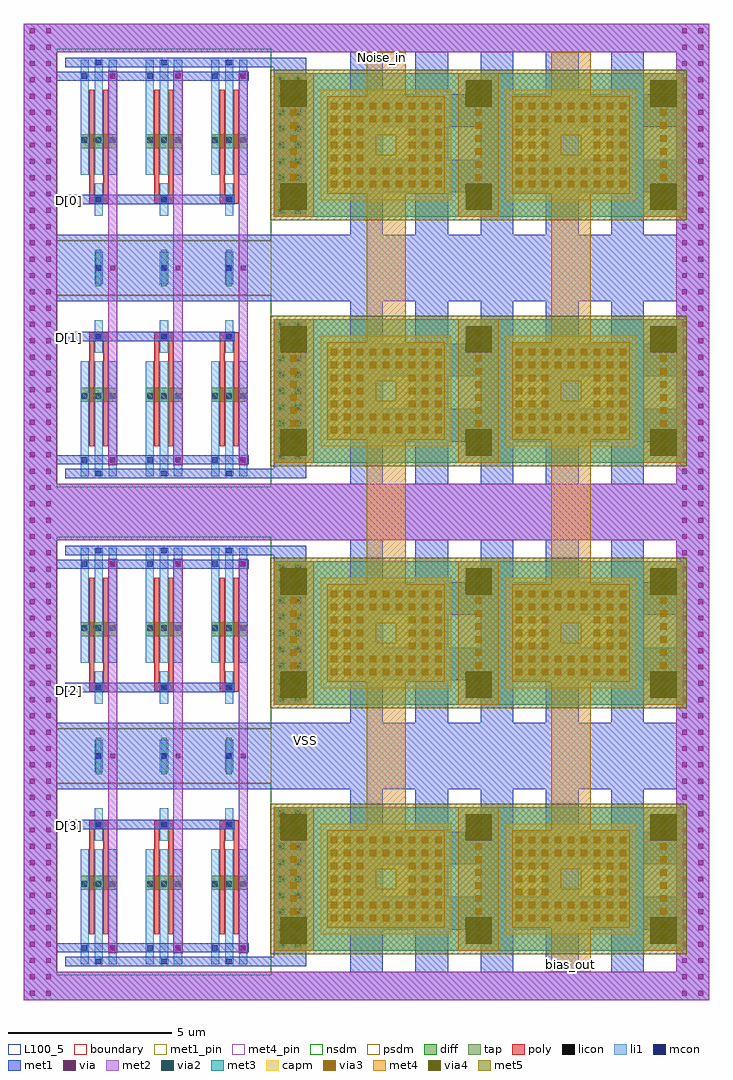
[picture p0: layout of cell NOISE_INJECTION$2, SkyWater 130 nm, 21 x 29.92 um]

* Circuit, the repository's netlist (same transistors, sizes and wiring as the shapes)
.subckt NOISE_INJECTION D[3] D[2] D[1] D[0] Noise_in bias_out VSS
X0  Noise_in GND_virtual0 sky130_fd_pr__cap_mim_m3_1 l=3.4e+06u w=4e+06u
X1  bias_out GND_virtual0 sky130_fd_pr__cap_mim_m3_1 l=3.4e+06u w=4e+06u
X2  Noise_in GND_virtual1 sky130_fd_pr__cap_mim_m3_1 l=3.4e+06u w=4e+06u
X3  bias_out GND_virtual1 sky130_fd_pr__cap_mim_m3_1 l=3.4e+06u w=4e+06u
X4  Noise_in GND_virtual2 sky130_fd_pr__cap_mim_m3_1 l=3.4e+06u w=4e+06u
X5  bias_out GND_virtual2 sky130_fd_pr__cap_mim_m3_1 l=3.4e+06u w=4e+06u
X6  Noise_in GND_virtual3 sky130_fd_pr__cap_mim_m3_1 l=3.4e+06u w=4e+06u
X7  bias_out GND_virtual3 sky130_fd_pr__cap_mim_m3_1 l=3.4e+06u w=4e+06u
X8  GND_virtual0 D[0] VSS VSS sky130_fd_pr__nfet_01v8 w=420000u l=150000u m=6
X9  GND_virtual1 D[1] VSS VSS sky130_fd_pr__nfet_01v8 w=420000u l=150000u m=6
X10 GND_virtual2 D[2] VSS VSS sky130_fd_pr__nfet_01v8 w=420000u l=150000u m=6
X11 GND_virtual3 D[3] VSS VSS sky130_fd_pr__nfet_01v8 w=420000u l=150000u m=6
.ends NOISE_INJECTION

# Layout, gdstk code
import gdstk
lib = gdstk.Library(unit=1e-6, precision=1e-09)
def R(c, l, rs):  # rectangles x0, y0, x1, y1
    for r in rs: c.add(gdstk.rectangle(r[:2], r[2:], *l))
def A(c, l, x, y, w, h, nx, ny, dx, dy):  # array of equal rectangles
    R(c, l, [(x+i*dx, y+j*dy, x+i*dx+w, y+j*dy+h) for i in range(nx) for j in range(ny)])
def P(c, l, *ps):  # polygons
    for p in ps: c.add(gdstk.Polygon(p, *l))
diff = (65, 20)
tap = (65, 44)
poly = (66, 20)
licon = (66, 44)
li1 = (67, 20)
mcon = (67, 44)
met1_pin = (68, 16)
met1 = (68, 20)
via = (68, 44)
met2 = (69, 20)
via2 = (69, 44)
met3 = (70, 20)
via3 = (70, 44)
met4_pin = (71, 16)
met4 = (71, 20)
via4 = (71, 44)
met5 = (72, 20)
capm = (89, 44)
nsdm = (93, 44)
psdm = (94, 20)
L100_5 = (100, 5)
boundary = (235, 4)

noise_injection_2 = lib.new_cell('NOISE_INJECTION$2')
A(noise_injection_2, diff, 1.735, 3.385, 1.11, 0.42, 3, 2, 2, 7.77)
A(noise_injection_2, diff, 1.735, 18.345, 1.11, 0.42, 3, 2, 2, 7.77)
R(noise_injection_2, tap, [(2.205,6.92,2.375,8.04), (2.205,6.92,2.375,8.04), (4.205,6.92,4.375,8.04), (4.205,6.92,4.375,8.04), (6.205,6.92,6.375,8.04), (6.205,6.92,6.375,8.04), (2.205,21.88,2.375,23), (2.205,21.88,2.375,23), (4.205,21.88,4.375,23), (4.205,21.88,4.375,23), (6.205,21.88,6.375,23), (6.205,21.88,6.375,23)])
A(noise_injection_2, poly, 2, 5.245, 0.58, 0.27, 3, 2, 2, 4.2)
A(noise_injection_2, poly, 2, 20.205, 0.58, 0.27, 3, 2, 2, 4.2)
R(noise_injection_2, poly, [(2,2.02,2.15,5.38), (2.43,2.02,2.58,5.38), (4,2.02,4.15,5.38), (4.43,2.02,4.58,5.38), (6,2.02,6.15,5.38), (6.43,2.02,6.58,5.38), (2,9.58,2.15,12.94), (2.43,9.58,2.58,12.94), (4,9.58,4.15,12.94), (4.43,9.58,4.58,12.94), (6,9.58,6.15,12.94), (6.43,9.58,6.58,12.94), (2,16.98,2.15,20.34), (2.43,16.98,2.58,20.34), (4,16.98,4.15,20.34), (4.43,16.98,4.58,20.34), (6,16.98,6.15,20.34), (6.43,16.98,6.58,20.34), (2,24.54,2.15,27.9), (2.43,24.54,2.58,27.9), (4,24.54,4.15,27.9), (4.43,24.54,4.58,27.9), (6,24.54,6.15,27.9), (6.43,24.54,6.58,27.9)])
A(noise_injection_2, licon, 1.775, 3.465, 0.17, 0.17, 3, 2, 0.43, 7.86)
A(noise_injection_2, licon, 3.775, 3.465, 0.17, 0.17, 3, 2, 0.43, 7.86)
A(noise_injection_2, licon, 5.775, 3.465, 0.17, 0.17, 3, 2, 0.43, 7.86)
A(noise_injection_2, licon, 2.205, 5.295, 0.17, 0.17, 3, 2, 2, 4.2)
A(noise_injection_2, licon, 1.775, 18.425, 0.17, 0.17, 3, 2, 0.43, 7.86)
A(noise_injection_2, licon, 3.775, 18.425, 0.17, 0.17, 3, 2, 0.43, 7.86)
A(noise_injection_2, licon, 5.775, 18.425, 0.17, 0.17, 3, 2, 0.43, 7.86)
A(noise_injection_2, licon, 2.205, 20.255, 0.17, 0.17, 3, 2, 2, 4.2)
R(noise_injection_2, licon, [(2.205,7.395,2.375,7.565), (2.205,7.395,2.375,7.565), (4.205,7.395,4.375,7.565), (4.205,7.395,4.375,7.565), (6.205,7.395,6.375,7.565), (6.205,7.395,6.375,7.565), (2.205,22.355,2.375,22.525), (2.205,22.355,2.375,22.525), (4.205,22.355,4.375,22.525), (4.205,22.355,4.375,22.525), (6.205,22.355,6.375,22.525), (6.205,22.355,6.375,22.525)])
A(noise_injection_2, li1, 1.735, 1.095, 0.25, 3.53, 3, 2, 0.43, 9.24)
A(noise_injection_2, li1, 3.735, 1.095, 0.25, 3.53, 3, 2, 0.43, 9.24)
A(noise_injection_2, li1, 5.735, 1.095, 0.25, 3.53, 3, 2, 0.43, 9.24)
A(noise_injection_2, li1, 2.165, 4.875, 0.25, 1.01, 3, 2, 2, 4.2)
A(noise_injection_2, li1, 1.735, 16.055, 0.25, 3.53, 3, 2, 0.43, 9.24)
A(noise_injection_2, li1, 3.735, 16.055, 0.25, 3.53, 3, 2, 0.43, 9.24)
A(noise_injection_2, li1, 5.735, 16.055, 0.25, 3.53, 3, 2, 0.43, 9.24)
A(noise_injection_2, li1, 2.165, 19.835, 0.25, 1.01, 3, 2, 2, 4.2)
R(noise_injection_2, li1, [(2.165,6.975,2.415,7.985), (2.165,6.975,2.415,7.985), (4.165,6.975,4.415,7.985), (4.165,6.975,4.415,7.985), (6.165,6.975,6.415,7.985), (6.165,6.975,6.415,7.985), (2.165,21.935,2.415,22.945), (2.165,21.935,2.415,22.945), (4.165,21.935,4.415,22.945), (4.165,21.935,4.415,22.945), (6.165,21.935,6.415,22.945), (6.165,21.935,6.415,22.945)])
A(noise_injection_2, mcon, 2.205, 1.095, 0.17, 0.17, 3, 4, 2, 4.2)
A(noise_injection_2, mcon, 2.205, 16.055, 0.17, 0.17, 3, 4, 2, 4.2)
R(noise_injection_2, mcon, [(1.775,1.515,1.945,1.685), (2.635,1.515,2.805,1.685), (3.775,1.515,3.945,1.685), (4.635,1.515,4.805,1.685), (5.775,1.515,5.945,1.685), (6.635,1.515,6.805,1.685), (2.205,7.395,2.375,7.565), (2.205,7.395,2.375,7.565), (4.205,7.395,4.375,7.565), (4.205,7.395,4.375,7.565), (6.205,7.395,6.375,7.565), (6.205,7.395,6.375,7.565), (1.775,13.275,1.945,13.445), (2.635,13.275,2.805,13.445), (3.775,13.275,3.945,13.445), (4.635,13.275,4.805,13.445), (5.775,13.275,5.945,13.445), (6.635,13.275,6.805,13.445), (1.775,16.475,1.945,16.645), (2.635,16.475,2.805,16.645), (3.775,16.475,3.945,16.645), (4.635,16.475,4.805,16.645), (5.775,16.475,5.945,16.645), (6.635,16.475,6.805,16.645), (2.205,22.355,2.375,22.525), (2.205,22.355,2.375,22.525), (4.205,22.355,4.375,22.525), (4.205,22.355,4.375,22.525), (6.205,22.355,6.375,22.525), (6.205,22.355,6.375,22.525), (1.775,28.235,1.945,28.405), (2.635,28.235,2.805,28.405), (3.775,28.235,3.945,28.405), (4.635,28.235,4.805,28.405), (5.775,28.235,5.945,28.405), (6.635,28.235,6.805,28.405)])
R(noise_injection_2, met1_pin, [(1.39,5.353,1.41,5.373), (8.63,7.945,8.65,7.965), (8.63,7.945,8.65,7.965), (1.39,9.495,1.41,9.515), (1.39,20.295,1.41,20.315), (1.39,24.495,1.41,24.515)])
A(noise_injection_2, met1, 1.26, 1.04, 1.2, 0.28, 3, 4, 2, 4.2)
A(noise_injection_2, met1, 1.69, 1.46, 1.2, 0.28, 3, 2, 2, 11.76)
A(noise_injection_2, met1, 1.26, 16, 1.2, 0.28, 3, 4, 2, 4.2)
A(noise_injection_2, met1, 1.69, 16.42, 1.2, 0.28, 3, 2, 2, 11.76)
R(noise_injection_2, met1, [(1.26,1.04,7.65,1.32), (7.65,1.04,8.65,5.91), (1,1.46,6.89,1.74), (1.26,5.24,6.46,5.52), (7.65,9.05,8.65,13.92), (1.26,9.44,6.46,9.72), (1,13.22,6.89,13.5), (1.26,13.64,7.65,13.92), (1.26,16,7.65,16.28), (7.65,16,8.65,20.87), (1,16.42,6.89,16.7), (1.26,20.2,6.46,20.48), (7.65,24.01,8.65,28.88), (1.26,24.4,6.46,24.68), (1,28.18,6.89,28.46), (1.26,28.6,7.65,28.88)])
P(noise_injection_2, met1, [(0,14.96),(0,21.42),(1,21.42),(1,15.82),(10,15.82),(10,17.12),(11,17.12),(11,15.82),(12,15.82),(12,17.12),(13,17.12),(13,15.82),(14,15.82),(14,17.12),(15,17.12),(15,15.82),(16,15.82),(16,17.12),(17,17.12),(17,15.82),(18,15.82),(18,17.12),(19,17.12),(19,15.82),(20,15.82),(20,17.12),(10,17.12),(10,19.12),(11,19.12),(11,18.12),(12,18.12),(12,19.12),(13,19.12),(13,18.12),(14,18.12),(14,19.12),(15,19.12),(15,18.12),(16,18.12),(16,19.12),(17,19.12),(17,18.12),(18,18.12),(18,19.12),(19,19.12),(19,18.12),(20,18.12),(20,19.12),(10,19.12),(10,21.42),(11,21.42),(11,20.12),(12,20.12),(12,21.42),(13,21.42),(13,20.12),(14,20.12),(14,21.42),(15,21.42),(15,20.12),(16,20.12),(16,21.42),(17,21.42),(17,20.12),(18,20.12),(18,21.42),(19,21.42),(19,20.12),(20,20.12),(20,21.42),(0,21.42),(0,29.06),(1,29.06),(1,23.46),(10,23.46),(10,24.76),(11,24.76),(11,23.46),(12,23.46),(12,24.76),(13,24.76),(13,23.46),(14,23.46),(14,24.76),(15,24.76),(15,23.46),(16,23.46),(16,24.76),(17,24.76),(17,23.46),(18,23.46),(18,24.76),(19,24.76),(19,23.46),(20,23.46),(20,24.76),(10,24.76),(10,26.77),(11,26.77),(11,25.76),(12,25.76),(12,26.77),(13,26.77),(13,25.76),(14,25.76),(14,26.77),(15,26.77),(15,25.76),(16,25.76),(16,26.77),(17,26.77),(17,25.76),(18,25.76),(18,26.77),(19,26.77),(19,25.76),(20,25.76),(20,26.77),(10,26.77),(10,29.06),(11,29.06),(11,27.77),(12,27.77),(12,29.06),(13,29.06),(13,27.77),(14,27.77),(14,29.06),(15,29.06),(15,27.77),(16,27.77),(16,29.06),(17,29.06),(17,27.77),(18,27.77),(18,29.06),(19,29.06),(19,27.77),(20,27.77),(20,29.06),(0,29.06),(0,29.92),(21,29.92),(21,14.96)],
  [(0,0),(0,6.46),(1,6.46),(1,0.86),(10,0.86),(10,2.16),(11,2.16),(11,0.86),(12,0.86),(12,2.16),(13,2.16),(13,0.86),(14,0.86),(14,2.16),(15,2.16),(15,0.86),(16,0.86),(16,2.16),(17,2.16),(17,0.86),(18,0.86),(18,2.16),(19,2.16),(19,0.86),(20,0.86),(20,2.16),(10,2.16),(10,4.16),(11,4.16),(11,3.16),(12,3.16),(12,4.16),(13,4.16),(13,3.16),(14,3.16),(14,4.16),(15,4.16),(15,3.16),(16,3.16),(16,4.16),(17,4.16),(17,3.16),(18,3.16),(18,4.16),(19,4.16),(19,3.16),(20,3.16),(20,4.16),(10,4.16),(10,6.46),(11,6.46),(11,5.16),(12,5.16),(12,6.46),(13,6.46),(13,5.16),(14,5.16),(14,6.46),(15,6.46),(15,5.16),(16,5.16),(16,6.46),(17,6.46),(17,5.16),(18,5.16),(18,6.46),(19,6.46),(19,5.16),(20,5.16),(20,6.46),(0,6.46),(0,14.1),(1,14.1),(1,8.5),(10,8.5),(10,9.8),(11,9.8),(11,8.5),(12,8.5),(12,9.8),(13,9.8),(13,8.5),(14,8.5),(14,9.8),(15,9.8),(15,8.5),(16,8.5),(16,9.8),(17,9.8),(17,8.5),(18,8.5),(18,9.8),(19,9.8),(19,8.5),(20,8.5),(20,9.8),(10,9.8),(10,11.81),(11,11.81),(11,10.8),(12,10.8),(12,11.81),(13,11.81),(13,10.8),(14,10.8),(14,11.81),(15,11.81),(15,10.8),(16,10.8),(16,11.81),(17,11.81),(17,10.8),(18,10.8),(18,11.81),(19,11.81),(19,10.8),(20,10.8),(20,11.81),(10,11.81),(10,14.1),(11,14.1),(11,12.81),(12,12.81),(12,14.1),(13,14.1),(13,12.81),(14,12.81),(14,14.1),(15,14.1),(15,12.81),(16,12.81),(16,14.1),(17,14.1),(17,12.81),(18,12.81),(18,14.1),(19,14.1),(19,12.81),(20,12.81),(20,14.1),(0,14.1),(0,14.96),(21,14.96),(21,0)])
A(noise_injection_2, via, 0.175, 0.135, 0.15, 0.15, 1, 60, 0, 0.5)
A(noise_injection_2, via, 0.675, 0.135, 0.15, 0.15, 1, 60, 0, 0.5)
A(noise_injection_2, via, 20.175, 0.135, 0.15, 0.15, 1, 60, 0, 0.5)
A(noise_injection_2, via, 20.675, 0.135, 0.15, 0.15, 1, 60, 0, 0.5)
A(noise_injection_2, via, 2.645, 1.525, 0.15, 0.15, 3, 2, 2, 11.76)
A(noise_injection_2, via, 7.825, 1.635, 0.15, 0.15, 1, 9, 0, 0.5)
A(noise_injection_2, via, 8.325, 1.635, 0.15, 0.15, 1, 9, 0, 0.5)
A(noise_injection_2, via, 7.825, 9.175, 0.15, 0.15, 1, 9, 0, 0.5)
A(noise_injection_2, via, 8.325, 9.175, 0.15, 0.15, 1, 9, 0, 0.5)
A(noise_injection_2, via, 2.645, 16.485, 0.15, 0.15, 3, 2, 2, 11.76)
A(noise_injection_2, via, 7.825, 16.595, 0.15, 0.15, 1, 9, 0, 0.5)
A(noise_injection_2, via, 8.325, 16.595, 0.15, 0.15, 1, 9, 0, 0.5)
A(noise_injection_2, via, 7.825, 24.135, 0.15, 0.15, 1, 9, 0, 0.5)
A(noise_injection_2, via, 8.325, 24.135, 0.15, 0.15, 1, 9, 0, 0.5)
R(noise_injection_2, via, [(2.645,7.405,2.795,7.555), (2.645,7.405,2.795,7.555), (4.645,7.405,4.795,7.555), (4.645,7.405,4.795,7.555), (6.645,7.405,6.795,7.555), (6.645,7.405,6.795,7.555), (2.645,22.365,2.795,22.515), (2.645,22.365,2.795,22.515), (4.645,22.365,4.795,22.515), (4.645,22.365,4.795,22.515), (6.645,22.365,6.795,22.515), (6.645,22.365,6.795,22.515)])
A(noise_injection_2, met2, 2.58, 1.44, 0.28, 6.04, 3, 2, 2, 6.04)
A(noise_injection_2, met2, 2.58, 16.4, 0.28, 6.04, 3, 2, 2, 6.04)
R(noise_injection_2, met2, [(7.65,1.51,8.65,5.91), (7.65,9.05,8.65,13.45), (7.65,16.47,8.65,20.87), (7.65,24.01,8.65,28.41)])
P(noise_injection_2, met2, [(0,14.96),(0,29.06),(1,29.06),(1,15.82),(20,15.82),(20,29.06),(0,29.06),(0,29.92),(21,29.92),(21,14.96)],
  [(0,0),(0,14.1),(1,14.1),(1,0.86),(20,0.86),(20,14.1),(0,14.1),(0,14.96),(21,14.96),(21,0)])
A(noise_injection_2, via2, 7.8, 1.61, 0.2, 0.2, 1, 9, 0, 0.5)
A(noise_injection_2, via2, 8.3, 1.61, 0.2, 0.2, 1, 9, 0, 0.5)
A(noise_injection_2, via2, 7.8, 9.15, 0.2, 0.2, 1, 9, 0, 0.5)
A(noise_injection_2, via2, 8.3, 9.15, 0.2, 0.2, 1, 9, 0, 0.5)
A(noise_injection_2, via2, 7.8, 16.57, 0.2, 0.2, 1, 9, 0, 0.5)
A(noise_injection_2, via2, 8.3, 16.57, 0.2, 0.2, 1, 9, 0, 0.5)
A(noise_injection_2, via2, 7.8, 24.11, 0.2, 0.2, 1, 9, 0, 0.5)
A(noise_injection_2, via2, 8.3, 24.11, 0.2, 0.2, 1, 9, 0, 0.5)
R(noise_injection_2, met3, [(7.65,1.51,14.55,5.91), (13.32,1.51,20.22,5.91), (7.65,9.05,14.55,13.45), (13.32,9.05,20.22,13.45), (7.65,16.47,14.55,20.87), (13.32,16.47,20.22,20.87), (7.65,24.01,14.55,28.41), (13.32,24.01,20.22,28.41)])
A(noise_injection_2, via3, 9.4, 2.41, 0.2, 0.2, 9, 2, 0.4, 0.4)
A(noise_injection_2, via3, 15.07, 2.41, 0.2, 0.2, 9, 2, 0.4, 0.4)
A(noise_injection_2, via3, 9.4, 3.21, 0.2, 0.2, 3, 3, 0.4, 0.4)
A(noise_injection_2, via3, 11.8, 3.21, 0.2, 0.2, 3, 3, 0.4, 0.4)
A(noise_injection_2, via3, 15.07, 3.21, 0.2, 0.2, 3, 3, 0.4, 0.4)
A(noise_injection_2, via3, 17.47, 3.21, 0.2, 0.2, 3, 3, 0.4, 0.4)
A(noise_injection_2, via3, 9.4, 4.41, 0.2, 0.2, 9, 2, 0.4, 0.4)
A(noise_injection_2, via3, 15.07, 4.41, 0.2, 0.2, 9, 2, 0.4, 0.4)
A(noise_injection_2, via3, 9.4, 9.95, 0.2, 0.2, 9, 2, 0.4, 0.4)
A(noise_injection_2, via3, 15.07, 9.95, 0.2, 0.2, 9, 2, 0.4, 0.4)
A(noise_injection_2, via3, 9.4, 10.75, 0.2, 0.2, 3, 3, 0.4, 0.4)
A(noise_injection_2, via3, 11.8, 10.75, 0.2, 0.2, 3, 3, 0.4, 0.4)
A(noise_injection_2, via3, 15.07, 10.75, 0.2, 0.2, 3, 3, 0.4, 0.4)
A(noise_injection_2, via3, 17.47, 10.75, 0.2, 0.2, 3, 3, 0.4, 0.4)
A(noise_injection_2, via3, 9.4, 11.95, 0.2, 0.2, 9, 2, 0.4, 0.4)
A(noise_injection_2, via3, 15.07, 11.95, 0.2, 0.2, 9, 2, 0.4, 0.4)
A(noise_injection_2, via3, 9.4, 17.37, 0.2, 0.2, 9, 2, 0.4, 0.4)
A(noise_injection_2, via3, 15.07, 17.37, 0.2, 0.2, 9, 2, 0.4, 0.4)
A(noise_injection_2, via3, 9.4, 18.17, 0.2, 0.2, 3, 3, 0.4, 0.4)
A(noise_injection_2, via3, 11.8, 18.17, 0.2, 0.2, 3, 3, 0.4, 0.4)
A(noise_injection_2, via3, 15.07, 18.17, 0.2, 0.2, 3, 3, 0.4, 0.4)
A(noise_injection_2, via3, 17.47, 18.17, 0.2, 0.2, 3, 3, 0.4, 0.4)
A(noise_injection_2, via3, 9.4, 19.37, 0.2, 0.2, 9, 2, 0.4, 0.4)
A(noise_injection_2, via3, 15.07, 19.37, 0.2, 0.2, 9, 2, 0.4, 0.4)
A(noise_injection_2, via3, 9.4, 24.91, 0.2, 0.2, 9, 2, 0.4, 0.4)
A(noise_injection_2, via3, 15.07, 24.91, 0.2, 0.2, 9, 2, 0.4, 0.4)
A(noise_injection_2, via3, 9.4, 25.71, 0.2, 0.2, 3, 3, 0.4, 0.4)
A(noise_injection_2, via3, 11.8, 25.71, 0.2, 0.2, 3, 3, 0.4, 0.4)
A(noise_injection_2, via3, 15.07, 25.71, 0.2, 0.2, 3, 3, 0.4, 0.4)
A(noise_injection_2, via3, 17.47, 25.71, 0.2, 0.2, 3, 3, 0.4, 0.4)
A(noise_injection_2, via3, 9.4, 26.91, 0.2, 0.2, 9, 2, 0.4, 0.4)
A(noise_injection_2, via3, 15.07, 26.91, 0.2, 0.2, 9, 2, 0.4, 0.4)
R(noise_injection_2, via3, [(8.165,1.81,8.365,2.01), (8.165,1.81,8.365,2.01), (13.835,1.81,14.035,2.01), (13.835,1.81,14.035,2.01), (13.835,1.81,14.035,2.01), (13.835,1.81,14.035,2.01), (19.505,1.81,19.705,2.01), (19.505,1.81,19.705,2.01), (8.165,2.21,8.365,2.41), (8.165,2.21,8.365,2.41), (13.835,2.21,14.035,2.41), (13.835,2.21,14.035,2.41), (13.835,2.21,14.035,2.41), (13.835,2.21,14.035,2.41), (19.505,2.21,19.705,2.41), (19.505,2.21,19.705,2.41), (8.165,2.61,8.365,2.81), (8.165,2.61,8.365,2.81), (13.835,2.61,14.035,2.81), (13.835,2.61,14.035,2.81), (13.835,2.61,14.035,2.81), (13.835,2.61,14.035,2.81), (19.505,2.61,19.705,2.81), (19.505,2.61,19.705,2.81), (8.165,3.01,8.365,3.21), (8.165,3.01,8.365,3.21), (13.835,3.01,14.035,3.21), (13.835,3.01,14.035,3.21), (13.835,3.01,14.035,3.21), (13.835,3.01,14.035,3.21), (19.505,3.01,19.705,3.21), (19.505,3.01,19.705,3.21), (8.165,3.41,8.365,3.61), (8.165,3.41,8.365,3.61), (13.835,3.41,14.035,3.61), (13.835,3.41,14.035,3.61), (13.835,3.41,14.035,3.61), (13.835,3.41,14.035,3.61), (19.505,3.41,19.705,3.61), (19.505,3.41,19.705,3.61), (8.165,3.81,8.365,4.01), (8.165,3.81,8.365,4.01), (13.835,3.81,14.035,4.01), (13.835,3.81,14.035,4.01), (13.835,3.81,14.035,4.01), (13.835,3.81,14.035,4.01), (19.505,3.81,19.705,4.01), (19.505,3.81,19.705,4.01), (8.165,4.21,8.365,4.41), (8.165,4.21,8.365,4.41), (13.835,4.21,14.035,4.41), (13.835,4.21,14.035,4.41), (13.835,4.21,14.035,4.41), (13.835,4.21,14.035,4.41), (19.505,4.21,19.705,4.41), (19.505,4.21,19.705,4.41), (8.165,4.61,8.365,4.81), (8.165,4.61,8.365,4.81), (13.835,4.61,14.035,4.81), (13.835,4.61,14.035,4.81), (13.835,4.61,14.035,4.81), (13.835,4.61,14.035,4.81), (19.505,4.61,19.705,4.81), (19.505,4.61,19.705,4.81), (8.165,5.01,8.365,5.21), (8.165,5.01,8.365,5.21), (13.835,5.01,14.035,5.21), (13.835,5.01,14.035,5.21), (13.835,5.01,14.035,5.21), (13.835,5.01,14.035,5.21), (19.505,5.01,19.705,5.21), (19.505,5.01,19.705,5.21), (8.165,5.41,8.365,5.61), (13.835,5.41,14.035,5.61), (13.835,5.41,14.035,5.61), (19.505,5.41,19.705,5.61), (8.165,9.35,8.365,9.55), (8.165,9.35,8.365,9.55), (13.835,9.35,14.035,9.55), (13.835,9.35,14.035,9.55), (13.835,9.35,14.035,9.55), (13.835,9.35,14.035,9.55), (19.505,9.35,19.705,9.55), (19.505,9.35,19.705,9.55), (8.165,9.75,8.365,9.95), (8.165,9.75,8.365,9.95), (13.835,9.75,14.035,9.95), (13.835,9.75,14.035,9.95), (13.835,9.75,14.035,9.95), (13.835,9.75,14.035,9.95), (19.505,9.75,19.705,9.95), (19.505,9.75,19.705,9.95), (8.165,10.15,8.365,10.35), (8.165,10.15,8.365,10.35), (13.835,10.15,14.035,10.35), (13.835,10.15,14.035,10.35), (13.835,10.15,14.035,10.35), (13.835,10.15,14.035,10.35), (19.505,10.15,19.705,10.35), (19.505,10.15,19.705,10.35), (8.165,10.55,8.365,10.75), (8.165,10.55,8.365,10.75), (13.835,10.55,14.035,10.75), (13.835,10.55,14.035,10.75), (13.835,10.55,14.035,10.75), (13.835,10.55,14.035,10.75), (19.505,10.55,19.705,10.75), (19.505,10.55,19.705,10.75), (8.165,10.95,8.365,11.15), (8.165,10.95,8.365,11.15), (13.835,10.95,14.035,11.15), (13.835,10.95,14.035,11.15), (13.835,10.95,14.035,11.15), (13.835,10.95,14.035,11.15), (19.505,10.95,19.705,11.15), (19.505,10.95,19.705,11.15), (8.165,11.35,8.365,11.55), (8.165,11.35,8.365,11.55), (13.835,11.35,14.035,11.55), (13.835,11.35,14.035,11.55), (13.835,11.35,14.035,11.55), (13.835,11.35,14.035,11.55), (19.505,11.35,19.705,11.55), (19.505,11.35,19.705,11.55), (8.165,11.75,8.365,11.95), (8.165,11.75,8.365,11.95), (13.835,11.75,14.035,11.95), (13.835,11.75,14.035,11.95), (13.835,11.75,14.035,11.95), (13.835,11.75,14.035,11.95), (19.505,11.75,19.705,11.95), (19.505,11.75,19.705,11.95), (8.165,12.15,8.365,12.35), (8.165,12.15,8.365,12.35), (13.835,12.15,14.035,12.35), (13.835,12.15,14.035,12.35), (13.835,12.15,14.035,12.35), (13.835,12.15,14.035,12.35), (19.505,12.15,19.705,12.35), (19.505,12.15,19.705,12.35), (8.165,12.55,8.365,12.75), (8.165,12.55,8.365,12.75), (13.835,12.55,14.035,12.75), (13.835,12.55,14.035,12.75), (13.835,12.55,14.035,12.75), (13.835,12.55,14.035,12.75), (19.505,12.55,19.705,12.75), (19.505,12.55,19.705,12.75), (8.165,12.95,8.365,13.15), (13.835,12.95,14.035,13.15), (13.835,12.95,14.035,13.15), (19.505,12.95,19.705,13.15), (8.165,16.77,8.365,16.97), (8.165,16.77,8.365,16.97), (13.835,16.77,14.035,16.97), (13.835,16.77,14.035,16.97), (13.835,16.77,14.035,16.97), (13.835,16.77,14.035,16.97), (19.505,16.77,19.705,16.97), (19.505,16.77,19.705,16.97), (8.165,17.17,8.365,17.37), (8.165,17.17,8.365,17.37), (13.835,17.17,14.035,17.37), (13.835,17.17,14.035,17.37), (13.835,17.17,14.035,17.37), (13.835,17.17,14.035,17.37), (19.505,17.17,19.705,17.37), (19.505,17.17,19.705,17.37), (8.165,17.57,8.365,17.77), (8.165,17.57,8.365,17.77), (13.835,17.57,14.035,17.77), (13.835,17.57,14.035,17.77), (13.835,17.57,14.035,17.77), (13.835,17.57,14.035,17.77), (19.505,17.57,19.705,17.77), (19.505,17.57,19.705,17.77), (8.165,17.97,8.365,18.17), (8.165,17.97,8.365,18.17), (13.835,17.97,14.035,18.17), (13.835,17.97,14.035,18.17), (13.835,17.97,14.035,18.17), (13.835,17.97,14.035,18.17), (19.505,17.97,19.705,18.17), (19.505,17.97,19.705,18.17), (8.165,18.37,8.365,18.57), (8.165,18.37,8.365,18.57), (13.835,18.37,14.035,18.57), (13.835,18.37,14.035,18.57), (13.835,18.37,14.035,18.57), (13.835,18.37,14.035,18.57), (19.505,18.37,19.705,18.57), (19.505,18.37,19.705,18.57), (8.165,18.77,8.365,18.97), (8.165,18.77,8.365,18.97), (13.835,18.77,14.035,18.97), (13.835,18.77,14.035,18.97), (13.835,18.77,14.035,18.97), (13.835,18.77,14.035,18.97), (19.505,18.77,19.705,18.97), (19.505,18.77,19.705,18.97), (8.165,19.17,8.365,19.37), (8.165,19.17,8.365,19.37), (13.835,19.17,14.035,19.37), (13.835,19.17,14.035,19.37), (13.835,19.17,14.035,19.37), (13.835,19.17,14.035,19.37), (19.505,19.17,19.705,19.37), (19.505,19.17,19.705,19.37), (8.165,19.57,8.365,19.77), (8.165,19.57,8.365,19.77), (13.835,19.57,14.035,19.77), (13.835,19.57,14.035,19.77), (13.835,19.57,14.035,19.77), (13.835,19.57,14.035,19.77), (19.505,19.57,19.705,19.77), (19.505,19.57,19.705,19.77), (8.165,19.97,8.365,20.17), (8.165,19.97,8.365,20.17), (13.835,19.97,14.035,20.17), (13.835,19.97,14.035,20.17), (13.835,19.97,14.035,20.17), (13.835,19.97,14.035,20.17), (19.505,19.97,19.705,20.17), (19.505,19.97,19.705,20.17), (8.165,20.37,8.365,20.57), (13.835,20.37,14.035,20.57), (13.835,20.37,14.035,20.57), (19.505,20.37,19.705,20.57), (8.165,24.31,8.365,24.51), (8.165,24.31,8.365,24.51), (13.835,24.31,14.035,24.51), (13.835,24.31,14.035,24.51), (13.835,24.31,14.035,24.51), (13.835,24.31,14.035,24.51), (19.505,24.31,19.705,24.51), (19.505,24.31,19.705,24.51), (8.165,24.71,8.365,24.91), (8.165,24.71,8.365,24.91), (13.835,24.71,14.035,24.91), (13.835,24.71,14.035,24.91), (13.835,24.71,14.035,24.91), (13.835,24.71,14.035,24.91), (19.505,24.71,19.705,24.91), (19.505,24.71,19.705,24.91), (8.165,25.11,8.365,25.31), (8.165,25.11,8.365,25.31), (13.835,25.11,14.035,25.31), (13.835,25.11,14.035,25.31), (13.835,25.11,14.035,25.31), (13.835,25.11,14.035,25.31), (19.505,25.11,19.705,25.31), (19.505,25.11,19.705,25.31), (8.165,25.51,8.365,25.71), (8.165,25.51,8.365,25.71), (13.835,25.51,14.035,25.71), (13.835,25.51,14.035,25.71), (13.835,25.51,14.035,25.71), (13.835,25.51,14.035,25.71), (19.505,25.51,19.705,25.71), (19.505,25.51,19.705,25.71), (8.165,25.91,8.365,26.11), (8.165,25.91,8.365,26.11), (13.835,25.91,14.035,26.11), (13.835,25.91,14.035,26.11), (13.835,25.91,14.035,26.11), (13.835,25.91,14.035,26.11), (19.505,25.91,19.705,26.11), (19.505,25.91,19.705,26.11), (8.165,26.31,8.365,26.51), (8.165,26.31,8.365,26.51), (13.835,26.31,14.035,26.51), (13.835,26.31,14.035,26.51), (13.835,26.31,14.035,26.51), (13.835,26.31,14.035,26.51), (19.505,26.31,19.705,26.51), (19.505,26.31,19.705,26.51), (8.165,26.71,8.365,26.91), (8.165,26.71,8.365,26.91), (13.835,26.71,14.035,26.91), (13.835,26.71,14.035,26.91), (13.835,26.71,14.035,26.91), (13.835,26.71,14.035,26.91), (19.505,26.71,19.705,26.91), (19.505,26.71,19.705,26.91), (8.165,27.11,8.365,27.31), (8.165,27.11,8.365,27.31), (13.835,27.11,14.035,27.31), (13.835,27.11,14.035,27.31), (13.835,27.11,14.035,27.31), (13.835,27.11,14.035,27.31), (19.505,27.11,19.705,27.31), (19.505,27.11,19.705,27.31), (8.165,27.51,8.365,27.71), (8.165,27.51,8.365,27.71), (13.835,27.51,14.035,27.71), (13.835,27.51,14.035,27.71), (13.835,27.51,14.035,27.71), (13.835,27.51,14.035,27.71), (19.505,27.51,19.705,27.71), (19.505,27.51,19.705,27.71), (8.165,27.91,8.365,28.11), (13.835,27.91,14.035,28.11), (13.835,27.91,14.035,28.11), (19.505,27.91,19.705,28.11)])
R(noise_injection_2, met4_pin, [(16.755,1.095,16.775,1.115), (10.995,28.895,11.015,28.915)])
R(noise_injection_2, met4, [(16.17,0.86,17.37,2.21), (7.65,1.51,8.88,5.91), (13.32,1.51,14.55,5.91), (13.32,1.51,14.55,5.91), (18.99,1.51,20.22,5.91), (9.3,2.21,10.8,5.21), (10.8,2.21,11.4,3.41), (11.4,2.21,12.9,5.21), (14.97,2.21,16.47,5.21), (16.47,2.21,17.07,3.41), (17.07,2.21,18.57,5.21), (10.8,4.01,11.4,5.21), (16.47,4.01,17.07,5.21), (10.5,5.21,11.7,9.75), (16.17,5.21,17.37,9.75), (7.65,9.05,8.88,13.45), (13.32,9.05,14.55,13.45), (13.32,9.05,14.55,13.45), (18.99,9.05,20.22,13.45), (9.3,9.75,10.8,12.75), (10.8,9.75,11.4,10.95), (11.4,9.75,12.9,12.75), (14.97,9.75,16.47,12.75), (16.47,9.75,17.07,10.95), (17.07,9.75,18.57,12.75), (10.8,11.55,11.4,12.75), (16.47,11.55,17.07,12.75), (10.5,12.75,11.7,17.17), (16.17,12.75,17.37,17.17), (7.65,16.47,8.88,20.87), (13.32,16.47,14.55,20.87), (13.32,16.47,14.55,20.87), (18.99,16.47,20.22,20.87), (9.3,17.17,10.8,20.17), (10.8,17.17,11.4,18.37), (11.4,17.17,12.9,20.17), (14.97,17.17,16.47,20.17), (16.47,17.17,17.07,18.37), (17.07,17.17,18.57,20.17), (10.8,18.97,11.4,20.17), (16.47,18.97,17.07,20.17), (10.5,20.17,11.7,24.71), (16.17,20.17,17.37,24.71), (7.65,24.01,8.88,28.41), (13.32,24.01,14.55,28.41), (13.32,24.01,14.55,28.41), (18.99,24.01,20.22,28.41), (9.3,24.71,10.8,27.71), (10.8,24.71,11.4,25.91), (11.4,24.71,12.9,27.71), (14.97,24.71,16.47,27.71), (16.47,24.71,17.07,25.91), (17.07,24.71,18.57,27.71), (10.8,26.51,11.4,27.71), (16.47,26.51,17.07,27.71), (10.5,27.71,11.7,29.06), (16.17,27.71,17.37,29.06)])
R(noise_injection_2, via4, [(7.865,1.73,8.665,2.53), (13.535,1.73,14.335,2.53), (13.535,1.73,14.335,2.53), (19.205,1.73,20.005,2.53), (7.865,4.89,8.665,5.69), (13.535,4.89,14.335,5.69), (13.535,4.89,14.335,5.69), (19.205,4.89,20.005,5.69), (7.865,9.27,8.665,10.07), (13.535,9.27,14.335,10.07), (13.535,9.27,14.335,10.07), (19.205,9.27,20.005,10.07), (7.865,12.43,8.665,13.23), (13.535,12.43,14.335,13.23), (13.535,12.43,14.335,13.23), (19.205,12.43,20.005,13.23), (7.865,16.69,8.665,17.49), (13.535,16.69,14.335,17.49), (13.535,16.69,14.335,17.49), (19.205,16.69,20.005,17.49), (7.865,19.85,8.665,20.65), (13.535,19.85,14.335,20.65), (13.535,19.85,14.335,20.65), (19.205,19.85,20.005,20.65), (7.865,24.23,8.665,25.03), (13.535,24.23,14.335,25.03), (13.535,24.23,14.335,25.03), (19.205,24.23,20.005,25.03), (7.865,27.39,8.665,28.19), (13.535,27.39,14.335,28.19), (13.535,27.39,14.335,28.19), (19.205,27.39,20.005,28.19)])
R(noise_injection_2, met5, [(7.55,1.41,14.65,6.01), (13.22,1.41,20.32,6.01), (7.55,8.95,14.65,13.55), (13.22,8.95,20.32,13.55), (7.55,16.37,14.65,20.97), (13.22,16.37,20.32,20.97), (7.55,23.91,14.65,28.51), (13.22,23.91,20.32,28.51)])
R(noise_injection_2, capm, [(9.1,2.01,13.1,5.41), (14.77,2.01,18.77,5.41), (9.1,9.55,13.1,12.95), (14.77,9.55,18.77,12.95), (9.1,16.97,13.1,20.37), (14.77,16.97,18.77,20.37), (9.1,24.51,13.1,27.91), (14.77,24.51,18.77,27.91)])
A(noise_injection_2, nsdm, 1, 0.76, 2.58, 5.88, 3, 2, 2, 7.56)
A(noise_injection_2, nsdm, 1, 15.72, 2.58, 5.88, 3, 2, 2, 7.56)
R(noise_injection_2, psdm, [(1,6.64,3.58,8.32), (1,6.64,3.58,8.32), (3,6.64,5.58,8.32), (3,6.64,5.58,8.32), (5,6.64,7.58,8.32), (5,6.64,7.58,8.32), (1,21.6,3.58,23.28), (1,21.6,3.58,23.28), (3,21.6,5.58,23.28), (3,21.6,5.58,23.28), (5,21.6,7.58,23.28), (5,21.6,7.58,23.28)])
A(noise_injection_2, L100_5, 1, 0.76, 2.58, 7.56, 3, 2, 2, 5.88)
A(noise_injection_2, L100_5, 1, 15.72, 2.58, 7.56, 3, 2, 2, 5.88)
R(noise_injection_2, boundary, [(0,0,21,29.92), (8.6,1.51,13.6,5.91), (14.27,1.51,19.27,5.91), (8.6,9.05,13.6,13.45), (14.27,9.05,19.27,13.45), (8.6,16.47,13.6,20.87), (14.27,16.47,19.27,20.87), (8.6,24.01,13.6,28.41), (14.27,24.01,19.27,28.41)])
noise_injection_2.add(gdstk.Label('D[3]', (1.4,5.358), layer=68, texttype=5))
noise_injection_2.add(gdstk.Label('D[3]', (1.4,5.358), layer=68, texttype=5))
noise_injection_2.add(gdstk.Label('D[0]', (1.4,24.5), layer=68, texttype=5))
noise_injection_2.add(gdstk.Label('D[1]', (1.4,20.3), layer=68, texttype=5))
noise_injection_2.add(gdstk.Label('D[2]', (1.4,9.5), layer=68, texttype=5))
noise_injection_2.add(gdstk.Label('VSS', (8.64,7.95), layer=68, texttype=5))
noise_injection_2.add(gdstk.Label('bias_out', (16.76,1.1), layer=71, texttype=5))
noise_injection_2.add(gdstk.Label('Noise_in', (11,28.9), layer=71, texttype=5))

lib.write_gds('NOISE_INJECTION_2.gds')
